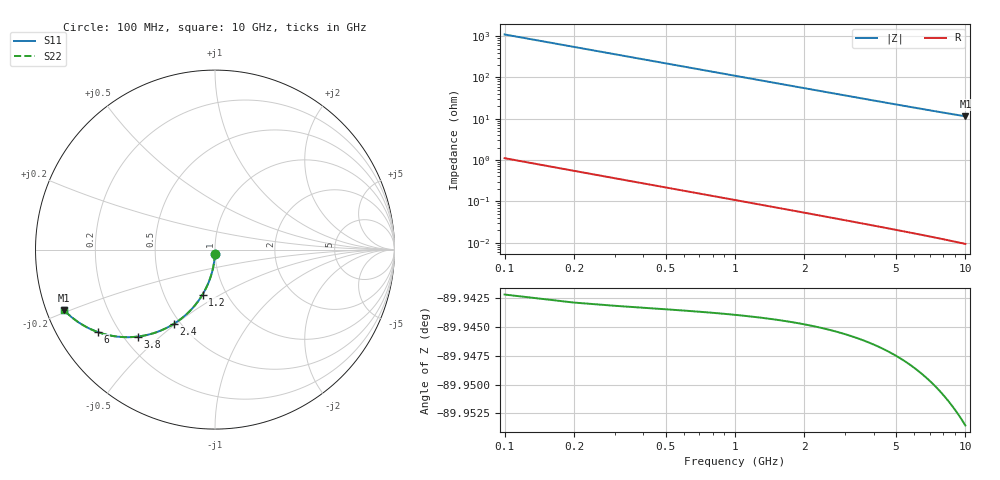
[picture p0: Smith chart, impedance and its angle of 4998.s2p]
# Hz S RI R 50.00
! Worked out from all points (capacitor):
!   100 points, 100 MHz to 10 GHz, reference 50 ohm
!   read as one part in shunt: C = 1.45 pF near 100 MHz
!   lowest |Z| = 11.5 ohm at 10 GHz (marker M1)
!   S11 on the Smith chart (normalised r, x): 100 MHz: 1.00, -0.04; 1.2 GHz: 0.77, -0.42; 2.4 GHz: 0.46, -0.49; 3.8 GHz: 0.26, -0.43; 6 GHz: 0.12, -0.31; 10 GHz: 0.05, -0.19
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1e8  -0.000463 -0.0224  0.9994 -0.023  0.9994 -0.023  -0.000463 -0.0224
2e8  -0.00203 -0.0448  0.9978 -0.0459  0.9978 -0.0459  -0.00203 -0.0448
3e8  -0.00462 -0.0671  0.9952 -0.0686  0.9952 -0.0686  -0.00462 -0.0671
4e8  -0.0082 -0.0891  0.9916 -0.0912  0.9916 -0.0912  -0.0082 -0.0891
5e8  -0.0128 -0.1108  0.9871 -0.1135  0.9871 -0.1135  -0.0128 -0.1108
6e8  -0.0183 -0.1323  0.9815 -0.1354  0.9815 -0.1354  -0.0183 -0.1323
7e8  -0.0247 -0.1533  0.9751 -0.1569  0.9751 -0.1569  -0.0247 -0.1533
9e8  -0.0403 -0.1939  0.9596 -0.1986  0.9596 -0.1986  -0.0403 -0.1939
1.2e9  -0.0694 -0.2506  0.9305 -0.2569  0.9305 -0.2569  -0.0694 -0.2506
1.5e9  -0.1043 -0.3013  0.8955 -0.3092  0.8955 -0.3092  -0.1043 -0.3013
1.8e9  -0.1436 -0.3456  0.8562 -0.355  0.8562 -0.355  -0.1436 -0.3456
2.1e9  -0.1858 -0.383  0.8139 -0.3941  0.8139 -0.3941  -0.1858 -0.383
2.4e9  -0.2297 -0.4139  0.7701 -0.4265  0.7701 -0.4265  -0.2297 -0.4139
2.9e9  -0.3034 -0.4516  0.6963 -0.467  0.6963 -0.467  -0.3034 -0.4516
3.4e9  -0.3747 -0.4746  0.625 -0.4926  0.625 -0.4926  -0.3747 -0.4746
3.8e9  -0.4283 -0.4843  0.5713 -0.5044  0.5713 -0.5044  -0.4283 -0.4843
4.4e9  -0.5014 -0.4878  0.4981 -0.5112  0.4981 -0.5112  -0.5014 -0.4878
5.1e9  -0.5752 -0.4802  0.4243 -0.5074  0.4243 -0.5074  -0.5752 -0.4802
6e9  -0.6527 -0.4594  0.3466 -0.4915  0.3466 -0.4915  -0.6527 -0.4594
6.7e9  -0.7015 -0.4389  0.2977 -0.4749  0.2977 -0.4749  -0.7015 -0.4389
8.4e9  -0.7882 -0.3848  0.2106 -0.4304  0.2106 -0.4304  -0.7882 -0.3848
1e10  -0.8417 -0.3362  0.1566 -0.3911  0.1566 -0.3911  -0.8417 -0.3362
